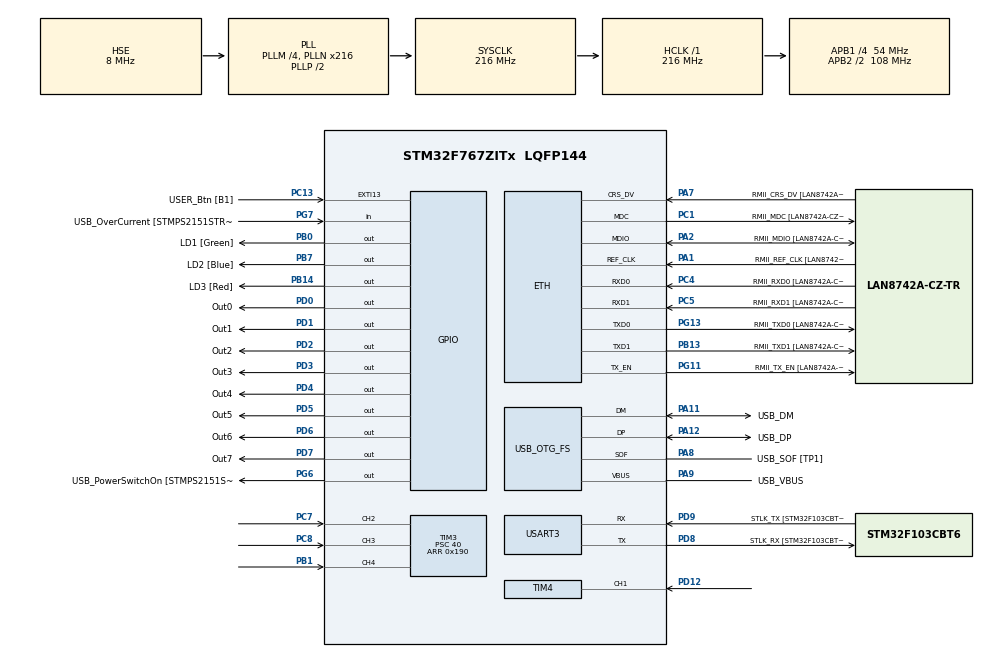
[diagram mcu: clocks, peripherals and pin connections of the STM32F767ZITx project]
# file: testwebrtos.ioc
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FREERTOS.Queues01=myQueue01,16,uint16_t,0,Dynamic,NULL,NULL
VP_ADC1_TempSens_Input.Mode=IN-TempSens
PB14.GPIO_Label=LD3 [Red]
PG6.GPIO_Label=USB_PowerSwitchOn [STMPS2151STR_EN]
PA14.GPIO_Label=TCK
PC5.Mode=RMII
PB13.Signal=ETH_TXD1
PD3.GPIO_Speed=GPIO_SPEED_FREQ_VERY_HIGH
PD6.GPIO_Label=Out6
PG13.Signal=ETH_TXD0
RCC.SYSCLKSource=RCC_SYSCLKSOURCE_PLLCLK
LWIP.NETMASK_ADDRESS=255.255.255.000
LWIP.LWIP_HTTPD=0
USART3.VirtualMode-Asynchronous=VM_ASYNC
PD4.Signal=GPIO_Output
RCC.APB2TimFreq_Value=216000000
PC7.Signal=S_TIM3_CH2
PH1/OSC_OUT.Signal=RCC_OSC_OUT
PD0.Signal=GPIO_Output
PD8.Signal=USART3_TX
NVIC.EXTI15_10_IRQn=true\:5\:0\:false\:false\:true\:true\:true\:true
PD1.GPIO_Label=Out1
PC4.GPIO_Label=RMII_RXD0 [LAN8742A-CZ-TR_RXD0]
PD1.GPIO_Speed=GPIO_SPEED_FREQ_VERY_HIGH
PA8.Signal=USB_OTG_FS_SOF
ETH.PHY_Name=LAN8742A_PHY_ADDRESS
TIM4.Period=0xffff
VP_FREERTOS_VS_CMSIS_V1.Mode=CMSIS_V1
ADC1.SamplingTime-0\#ChannelRegularConversion=ADC_SAMPLETIME_3CYCLES
Mcu.Package=LQFP144
PB1.Signal=S_TIM3_CH4
NVIC.TimeBase=TIM7_IRQn
PD12.Signal=S_TIM4_CH1
NVIC.TimeBaseIP=TIM7
PA10.Signal=USB_OTG_FS_ID
RCC.APB2CLKDivider=RCC_HCLK_DIV2
SH.S_TIM4_CH1.0=TIM4_CH1,Input_Capture1_from_TI1
RCC.APB1TimFreq_Value=108000000
PD5.GPIO_Speed=GPIO_SPEED_FREQ_VERY_HIGH
PB13.Mode=RMII
NVIC.RCC_IRQn=true\:5\:0\:false\:false\:true\:true\:true\:false
PC4.Mode=RMII
LWIP.IP_ADDRESS=192.168.001.204
FREERTOS.Tasks01=defaultTask,3,128,StartDefaultTask,Default,NULL,Dynamic,NULL,NULL;myTask8IO,2,128,StartmyTask8IO,Default,NULL,Dynamic,NULL,NULL;LED,-1,128,StartTaskLED,Default,NULL,Dynamic,NULL,NULL;Input,0,128,StartTaskInput,Default,NULL,Dynamic,NULL,NULL
ADC1.Rank-0\#ChannelRegularConversion=1
TIM3.Channel-Output\ Compare1\ No\ Output=TIM_CHANNEL_1
PD9.GPIO_Label=STLK_TX [STM32F103CBT6_PA2]
TIM3.Channel-Input_Capture2_from_TI2=TIM_CHANNEL_2
TIM3.AutoReloadPreload=TIM_AUTORELOAD_PRELOAD_ENABLE
PA9.GPIO_Label=USB_VBUS
PC13.Signal=GPXTI13
PD3.Signal=GPIO_Output
PD7.Signal=GPIO_Output
PD1.Signal=GPIO_Output
PA11.GPIO_Label=USB_DM
LWIP.LWIP_DHCP=0
RCC.APB1CLKDivider=RCC_HCLK_DIV4
PG13.GPIO_Label=RMII_TXD0 [LAN8742A-CZ-TR_TXD0]
PD0.GPIO_Speed=GPIO_SPEED_FREQ_VERY_HIGH
PA8.GPIO_Label=USB_SOF [TP1]
PA9.Signal=USB_OTG_FS_VBUS
PD8.Mode=Asynchronous
PB14.Signal=GPIO_Output
VP_TIM3_VS_no_output1.Mode=Output Compare1 No Output
NVIC.TIM3_IRQn=true\:5\:0\:false\:false\:true\:true\:true\:true
PA1.Mode=RMII
RCC.PRESCALERUSB=RCC_USBCLKSOURCE_PLL_DIV1_5
PD4.GPIO_Speed=GPIO_SPEED_FREQ_VERY_HIGH
PG7.GPIO_Label=USB_OverCurrent [STMPS2151STR_FAULT]
PA1.GPIO_Label=RMII_REF_CLK [LAN8742A-CZ-TR_REFCLK0]
TIM3.Channel-Input_Capture4_from_TI4=TIM_CHANNEL_4
PA13.Mode=Serial_Wire
ETH.MediaInterface=ETH_MEDIA_INTERFACE_RMII
ADC1.master=1
PG11.Mode=RMII
PA11.Signal=USB_OTG_FS_DM
ProjectManager.HeapSize=0x200
LWIP.Version=v2.1.2_Cube
FREERTOS.Mutexes01=myMutex01,Dynamic,NULL
NVIC.PriorityGroup=NVIC_PRIORITYGROUP_4
PC15/OSC32_OUT.Signal=RCC_OSC32_OUT
PA8.Mode=Activate_SOF_FS
PD2.Signal=GPIO_Output
PB0.Signal=GPIO_Output
PC1.Signal=ETH_MDC
PD2.GPIO_Label=Out2
PC1.Mode=RMII
Mcu.Family=STM32F7
RCC.CortexFreq_Value=216000000
FREERTOS.BinarySemaphores01=myBinarySem01,Dynamic,NULL;myBinarySem02,Dynamic,NULL;myBinarySem03,Dynamic,NULL;myBinarySem04,Dynamic,NULL;myBinarySem05,Dynamic,NULL;myBinarySem06,Dynamic,NULL
PG6.Signal=GPIO_Output
VP_TIM3_VS_OPM.Mode=OPM_bit
RCC.SYSCLKSourceVirtual=RCC_SYSCLKSOURCE_PLLCLK
PD0.GPIO_Label=Out0
PA11.Mode=Device_Only
PD2.GPIO_Speed=GPIO_SPEED_FREQ_VERY_HIGH
PB0.GPIO_Label=LD1 [Green]
PC14/OSC32_IN.Mode=LSE-External-Oscillator
PC13.GPIO_Label=USER_Btn [B1]
PB13.GPIO_Label=RMII_TXD1 [LAN8742A-CZ-TR_TXD1]
PD9.Mode=Asynchronous
PG11.Signal=ETH_TX_EN
ProjectManager.StackSize=0x400
TIM4.Channel-Input_Capture1_from_TI1=TIM_CHANNEL_1
TIM3.Channel-Input_Capture3_from_TI3=TIM_CHANNEL_3
PA12.Signal=USB_OTG_FS_DP
ETH.PHY_Value=0
PH0/OSC_IN.Mode=HSE-External-Clock-Source
RCC.HCLKFreq_Value=216000000
TIM3.Period=0x190
RCC.AHBFreq_Value=216000000
NVIC.ETH_IRQn=true\:5\:0\:false\:false\:true\:true\:false\:true
TIM3.ClockDivision=TIM_CLOCKDIVISION_DIV4
ADC1.Channel-0\#ChannelRegularConversion=ADC_CHANNEL_TEMPSENSOR
RCC.HSE_VALUE=8000000
RCC.PLLMUL=RCC_PLL_MUL9
PD7.GPIO_Speed=GPIO_SPEED_FREQ_VERY_HIGH
PA14.Mode=Serial_Wire
TIM3.Prescaler=40
PA10.GPIO_Label=USB_ID
PB7.Signal=GPIO_Output
PG13.Mode=RMII
PH1/OSC_OUT.Mode=HSE-External-Clock-Source
PD7.GPIO_Label=Out7
PB7.GPIO_Label=LD2 [Blue]
PC14/OSC32_IN.Signal=RCC_OSC32_IN
PD5.GPIO_Label=Out5
PA2.GPIO_Label=RMII_MDIO [LAN8742A-CZ-TR_MDIO]
USB_OTG_FS.VirtualMode=Device_Only
PG11.GPIO_Label=RMII_TX_EN [LAN8742A-CZ-TR_TXEN]
PC5.Signal=ETH_RXD1
PD3.GPIO_Label=Out3
PD6.Signal=GPIO_Output
NVIC.TIM7_IRQn=true\:0\:0\:false\:false\:true\:false\:false\:true
VP_TIM3_VS_ClockSourceINT.Mode=Internal
PB3.GPIO_Label=SWO
TIM4.AutoReloadPreload=TIM_AUTORELOAD_PRELOAD_ENABLE
PA7.Mode=RMII
PG7.Signal=GPIO_Input
VP_SYS_VS_tim7.Mode=TIM7
PC8.Signal=S_TIM3_CH3
PC4.Signal=ETH_RXD0
PD9.Signal=USART3_RX
PD5.Signal=GPIO_Output
SH.S_TIM3_CH3.0=TIM3_CH3,Input_Capture3_from_TI3
ETH.PhyAddress=0
PA12.GPIO_Label=USB_DP
VP_LWIP_VS_Enabled.Mode=Enabled
LWIP.GATEWAY_ADDRESS=192.168.001.001
PD8.GPIO_Label=STLK_RX [STM32F103CBT6_PA3]
PA13.Signal=SYS_JTMS-SWDIO
PA9.Mode=Activate_VBUS
ProjectManager.TargetToolchain=STM32CubeIDE
RCC.USBFreq_Value=48000000
TIM4.Prescaler=1080
PA1.Signal=ETH_REF_CLK
SH.S_TIM3_CH2.0=TIM3_CH2,Input_Capture2_from_TI2
board=NUCLEO-F767ZI
RCC.VCOOutputFreq_Value=432000000
PH0/OSC_IN.Signal=RCC_OSC_IN
RCC.APB2Freq_Value=108000000
PD4.GPIO_Label=Out4
PC1.GPIO_Label=RMII_MDC [LAN8742A-CZ-TR_MDC]
Mcu.Name=STM32F767ZITx
PA2.Signal=ETH_MDIO
PA13.GPIO_Label=TMS
RCC.48MHZClocksFreq_Value=24000000
PB3.Signal=SYS_JTDO-SWO
RCC.SYSCLKFreq_VALUE=216000000
PA7.GPIO_Label=RMII_CRS_DV [LAN8742A-CZ-TR_CRS_DV]
PA12.Mode=Device_Only
PC13.GPIO_ModeDefaultEXTI=GPIO_MODE_IT_FALLING
PC5.GPIO_Label=RMII_RXD1 [LAN8742A-CZ-TR_RXD1]
PC15/OSC32_OUT.Mode=LSE-External-Oscillator
PA14.Signal=SYS_JTCK-SWCLK
RCC.HSI_VALUE=16000000
PH0/OSC_IN.GPIO_Label=MCO [STM32F103CBT6_PA8]
RCC.PLLQ=9
ADC1.NbrOfConversionFlag=1
RCC.PLLM=4
RCC.PLLN=216
PA2.Mode=RMII
RCC.APB1Freq_Value=54000000
PD6.GPIO_Speed=GPIO_SPEED_FREQ_VERY_HIGH
SH.S_TIM3_CH4.0=TIM3_CH4,Input_Capture4_from_TI4
PA7.Signal=ETH_CRS_DV

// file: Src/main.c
/* USER CODE BEGIN Header */
/**
  ******************************************************************************
  * @file           : main.c
  * @brief          : Main program body
  ******************************************************************************
  * @attention
  *
  * <h2><center>&copy; Copyright (c) 2020 STMicroelectronics.
  * All rights reserved.</center></h2>
  *
  * This software component is licensed by ST under Ultimate Liberty license
  * SLA0044, the "License"; You may not use this file except in compliance with
  * the License. You may obtain a copy of the License at:
  *                             www.st.com/SLA0044
  *
  ******************************************************************************
  */
/* USER CODE END Header */

#include "main.h"
#include "cmsis_os.h"
#include "lwip.h"

ADC_HandleTypeDef hadc1;

TIM_HandleTypeDef htim3;
TIM_HandleTypeDef htim4;

UART_HandleTypeDef huart3;

PCD_HandleTypeDef hpcd_USB_OTG_FS;

osThreadId defaultTaskHandle;
osThreadId myTask8IOHandle;
osThreadId LEDHandle;
osThreadId InputHandle;
osMessageQId myQueue01Handle;
osMutexId myMutex01Handle;
osSemaphoreId myBinarySem01Handle;
osSemaphoreId myBinarySem02Handle;
osSemaphoreId myBinarySem03Handle;
osSemaphoreId myBinarySem04Handle;
osSemaphoreId myBinarySem05Handle;
osSemaphoreId myBinarySem06Handle;

void SystemClock_Config(void);
static void MX_GPIO_Init(void);
static void MX_USART3_UART_Init(void);
static void MX_USB_OTG_FS_PCD_Init(void);
static void MX_ADC1_Init(void);
static void MX_TIM3_Init(void);
static void MX_TIM4_Init(void);
void StartDefaultTask(void const * argument);
void StartmyTask8IO(void const * argument);
void StartTaskLED(void const * argument);
void StartTaskInput(void const * argument);

/* USER CODE BEGIN 0 */

uint8_t Test = 0x00;
uint8_t out = 0x00;
int Button = 0;
unsigned long t1 = 0;
unsigned long t2 = 0;
unsigned long diff = 0;
unsigned long diff2 = 0;
unsigned long count=0;
unsigned long count2=0;

/* USER CODE END 0 */

int main(void)
{
  /* USER CODE BEGIN 1 */
/*
	CoreDebug->DEMCR |= CoreDebug_DEMCR_TRCENA_Msk;
	DWT->CYCCNT = 0;
	DWT->CTRL |= DWT_CTRL_CYCCNTENA_Msk;
	DWT->CTRL |= 1 ; // enable the counter
	DWT->CYCCNT = 0; // reset the counter
*/
	CoreDebug->DEMCR |= CoreDebug_DEMCR_TRCENA_Msk;
	DWT->LAR = 0xC5ACCE55;
	DWT->CYCCNT = 0;
	DWT->CTRL |= DWT_CTRL_CYCCNTENA_Msk;

  /* USER CODE END 1 */

  /* MCU Configuration--------------------------------------------------------*/

  /* Reset of all peripherals, Initializes the Flash interface and the Systick. */
  HAL_Init();

  /* Configure the system clock */
  SystemClock_Config();

  /* Initialize all configured peripherals */
  MX_GPIO_Init();
  MX_USART3_UART_Init();
  MX_USB_OTG_FS_PCD_Init();
  MX_ADC1_Init();
  MX_TIM3_Init();
  MX_TIM4_Init();

  /* Create the mutex(es) */
  /* definition and creation of myMutex01 */
  osMutexDef(myMutex01);
  myMutex01Handle = osMutexCreate(osMutex(myMutex01));

  /* Create the semaphores(s) */
  /* definition and creation of myBinarySem01 */
  osSemaphoreDef(myBinarySem01);
  myBinarySem01Handle = osSemaphoreCreate(osSemaphore(myBinarySem01), 1);

  /* definition and creation of myBinarySem02 */
  osSemaphoreDef(myBinarySem02);
  myBinarySem02Handle = osSemaphoreCreate(osSemaphore(myBinarySem02), 1);

  /* definition and creation of myBinarySem03 */
  osSemaphoreDef(myBinarySem03);
  myBinarySem03Handle = osSemaphoreCreate(osSemaphore(myBinarySem03), 1);

  /* definition and creation of myBinarySem04 */
  osSemaphoreDef(myBinarySem04);
  myBinarySem04Handle = osSemaphoreCreate(osSemaphore(myBinarySem04), 1);

  /* definition and creation of myBinarySem05 */
  osSemaphoreDef(myBinarySem05);
  myBinarySem05Handle = osSemaphoreCreate(osSemaphore(myBinarySem05), 1);

  /* definition and creation of myBinarySem06 */
  osSemaphoreDef(myBinarySem06);
  myBinarySem06Handle = osSemaphoreCreate(osSemaphore(myBinarySem06), 1);

  /* USER CODE BEGIN RTOS_TIMERS */
  /* start timers, add new ones, ... */
  HAL_TIM_Base_Start(&htim3);
  //HAL_TIM_Base_Start_IT(&htim3);
  /* USER CODE END RTOS_TIMERS */

  /* Create the queue(s) */
  /* definition and creation of myQueue01 */
  osMessageQDef(myQueue01, 16, uint16_t);
  myQueue01Handle = osMessageCreate(osMessageQ(myQueue01), NULL);

  /* Create the thread(s) */
  /* definition and creation of defaultTask */
  osThreadDef(defaultTask, StartDefaultTask, osPriorityRealtime, 0, 128);
  defaultTaskHandle = osThreadCreate(osThread(defaultTask), NULL);

  /* definition and creation of myTask8IO */
  osThreadDef(myTask8IO, StartmyTask8IO, osPriorityHigh, 0, 128);
  myTask8IOHandle = osThreadCreate(osThread(myTask8IO), NULL);

  /* definition and creation of LED */
  osThreadDef(LED, StartTaskLED, osPriorityBelowNormal, 0, 128);
  LEDHandle = osThreadCreate(osThread(LED), NULL);

  /* definition and creation of Input */
  osThreadDef(Input, StartTaskInput, osPriorityNormal, 0, 128);
  InputHandle = osThreadCreate(osThread(Input), NULL);

  /* Start scheduler */
  osKernelStart();

  /* We should never get here as control is now taken by the scheduler */
  /* Infinite loop */
  while (1)
  {

  }
}

void SystemClock_Config(void)
{
  RCC_OscInitTypeDef RCC_OscInitStruct = {0};
  RCC_ClkInitTypeDef RCC_ClkInitStruct = {0};
  RCC_PeriphCLKInitTypeDef PeriphClkInitStruct = {0};

  /** Configure LSE Drive Capability
  */
  HAL_PWR_EnableBkUpAccess();
  /** Configure the main internal regulator output voltage
  */
  __HAL_RCC_PWR_CLK_ENABLE();
  __HAL_PWR_VOLTAGESCALING_CONFIG(PWR_REGULATOR_VOLTAGE_SCALE1);
  /** Initializes the CPU, AHB and APB busses clocks
  */
  RCC_OscInitStruct.OscillatorType = RCC_OSCILLATORTYPE_HSE;
  RCC_OscInitStruct.HSEState = RCC_HSE_BYPASS;
  RCC_OscInitStruct.PLL.PLLState = RCC_PLL_ON;
  RCC_OscInitStruct.PLL.PLLSource = RCC_PLLSOURCE_HSE;
  RCC_OscInitStruct.PLL.PLLM = 4;
  RCC_OscInitStruct.PLL.PLLN = 216;
  RCC_OscInitStruct.PLL.PLLP = RCC_PLLP_DIV2;
  RCC_OscInitStruct.PLL.PLLQ = 9;
  if (HAL_RCC_OscConfig(&RCC_OscInitStruct) != HAL_OK)
  {
    Error_Handler();
  }
  /** Activate the Over-Drive mode
  */
  if (HAL_PWREx_EnableOverDrive() != HAL_OK)
  {
    Error_Handler();
  }
  /** Initializes the CPU, AHB and APB busses clocks
  */
  RCC_ClkInitStruct.ClockType = RCC_CLOCKTYPE_HCLK|RCC_CLOCKTYPE_SYSCLK
                              |RCC_CLOCKTYPE_PCLK1|RCC_CLOCKTYPE_PCLK2;
  RCC_ClkInitStruct.SYSCLKSource = RCC_SYSCLKSOURCE_PLLCLK;
  RCC_ClkInitStruct.AHBCLKDivider = RCC_SYSCLK_DIV1;
  RCC_ClkInitStruct.APB1CLKDivider = RCC_HCLK_DIV4;
  RCC_ClkInitStruct.APB2CLKDivider = RCC_HCLK_DIV2;

  if (HAL_RCC_ClockConfig(&RCC_ClkInitStruct, FLASH_LATENCY_7) != HAL_OK)
  {
    Error_Handler();
  }
  PeriphClkInitStruct.PeriphClockSelection = RCC_PERIPHCLK_USART3|RCC_PERIPHCLK_CLK48;
  PeriphClkInitStruct.Usart3ClockSelection = RCC_USART3CLKSOURCE_PCLK1;
  PeriphClkInitStruct.Clk48ClockSelection = RCC_CLK48SOURCE_PLL;
  if (HAL_RCCEx_PeriphCLKConfig(&PeriphClkInitStruct) != HAL_OK)
  {
    Error_Handler();
  }
}

static void MX_ADC1_Init(void)
{

  ADC_ChannelConfTypeDef sConfig = {0};

  /** Configure the global features of the ADC (Clock, Resolution, Data Alignment and number of conversion)
  */
  hadc1.Instance = ADC1;
  hadc1.Init.ClockPrescaler = ADC_CLOCK_SYNC_PCLK_DIV4;
  hadc1.Init.Resolution = ADC_RESOLUTION_12B;
  hadc1.Init.ScanConvMode = ADC_SCAN_DISABLE;
  hadc1.Init.ContinuousConvMode = DISABLE;
  hadc1.Init.DiscontinuousConvMode = DISABLE;
  hadc1.Init.ExternalTrigConvEdge = ADC_EXTERNALTRIGCONVEDGE_NONE;
  hadc1.Init.ExternalTrigConv = ADC_SOFTWARE_START;
  hadc1.Init.DataAlign = ADC_DATAALIGN_RIGHT;
  hadc1.Init.NbrOfConversion = 1;
  hadc1.Init.DMAContinuousRequests = DISABLE;
  hadc1.Init.EOCSelection = ADC_EOC_SINGLE_CONV;
  if (HAL_ADC_Init(&hadc1) != HAL_OK)
  {
    Error_Handler();
  }
  /** Configure for the selected ADC regular channel its corresponding rank in the sequencer and its sample time.
  */
  sConfig.Channel = ADC_CHANNEL_TEMPSENSOR;
  sConfig.Rank = ADC_REGULAR_RANK_1;
  sConfig.SamplingTime = ADC_SAMPLETIME_3CYCLES;
  if (HAL_ADC_ConfigChannel(&hadc1, &sConfig) != HAL_OK)
  {
    Error_Handler();
  }

}

static void MX_TIM3_Init(void)
{

  TIM_ClockConfigTypeDef sClockSourceConfig = {0};
  TIM_MasterConfigTypeDef sMasterConfig = {0};
  TIM_OC_InitTypeDef sConfigOC = {0};
  TIM_IC_InitTypeDef sConfigIC = {0};

  /* USER CODE BEGIN TIM3_Init 1 */
  __TIM3_CLK_ENABLE();

  TIM3->PSC = HAL_RCC_GetPCLK1Freq()/1000000 - 1;
  TIM3->CR1 = TIM_CR1_CEN;

  /* USER CODE END TIM3_Init 1 */
  htim3.Instance = TIM3;
  htim3.Init.Prescaler = 40;
  htim3.Init.CounterMode = TIM_COUNTERMODE_UP;
  htim3.Init.Period = 0x190;
  htim3.Init.ClockDivision = TIM_CLOCKDIVISION_DIV4;
  htim3.Init.AutoReloadPreload = TIM_AUTORELOAD_PRELOAD_ENABLE;
  if (HAL_TIM_Base_Init(&htim3) != HAL_OK)
  {
    Error_Handler();
  }
  sClockSourceConfig.ClockSource = TIM_CLOCKSOURCE_INTERNAL;
  if (HAL_TIM_ConfigClockSource(&htim3, &sClockSourceConfig) != HAL_OK)
  {
    Error_Handler();
  }
  if (HAL_TIM_OC_Init(&htim3) != HAL_OK)
  {
    Error_Handler();
  }
  if (HAL_TIM_IC_Init(&htim3) != HAL_OK)
  {
    Error_Handler();
  }
  if (HAL_TIM_OnePulse_Init(&htim3, TIM_OPMODE_SINGLE) != HAL_OK)
  {
    Error_Handler();
  }
  sMasterConfig.MasterOutputTrigger = TIM_TRGO_RESET;
  sMasterConfig.MasterSlaveMode = TIM_MASTERSLAVEMODE_DISABLE;
  if (HAL_TIMEx_MasterConfigSynchronization(&htim3, &sMasterConfig) != HAL_OK)
  {
    Error_Handler();
  }
  sConfigOC.OCMode = TIM_OCMODE_TIMING;
  sConfigOC.Pulse = 0;
  sConfigOC.OCPolarity = TIM_OCPOLARITY_HIGH;
  sConfigOC.OCFastMode = TIM_OCFAST_DISABLE;
  if (HAL_TIM_OC_ConfigChannel(&htim3, &sConfigOC, TIM_CHANNEL_1) != HAL_OK)
  {
    Error_Handler();
  }
  sConfigIC.ICPolarity = TIM_INPUTCHANNELPOLARITY_RISING;
  sConfigIC.ICSelection = TIM_ICSELECTION_DIRECTTI;
  sConfigIC.ICPrescaler = TIM_ICPSC_DIV1;
  sConfigIC.ICFilter = 0;
  if (HAL_TIM_IC_ConfigChannel(&htim3, &sConfigIC, TIM_CHANNEL_2) != HAL_OK)
  {
    Error_Handler();
  }
  if (HAL_TIM_IC_ConfigChannel(&htim3, &sConfigIC, TIM_CHANNEL_3) != HAL_OK)
  {
    Error_Handler();
  }
  if (HAL_TIM_IC_ConfigChannel(&htim3, &sConfigIC, TIM_CHANNEL_4) != HAL_OK)
  {
    Error_Handler();
  }
  /* USER CODE BEGIN TIM3_Init 2 */
  __TIM3_CLK_ENABLE();;
  HAL_TIM_Base_Start(&htim3);

  /* USER CODE END TIM3_Init 2 */

}

static void MX_TIM4_Init(void)
{

  TIM_MasterConfigTypeDef sMasterConfig = {0};
  TIM_IC_InitTypeDef sConfigIC = {0};

  htim4.Instance = TIM4;
  htim4.Init.Prescaler = 1080;
  htim4.Init.CounterMode = TIM_COUNTERMODE_UP;
  htim4.Init.Period = 0xffff;
  htim4.Init.ClockDivision = TIM_CLOCKDIVISION_DIV1;
  htim4.Init.AutoReloadPreload = TIM_AUTORELOAD_PRELOAD_ENABLE;
  if (HAL_TIM_IC_Init(&htim4) != HAL_OK)
  {
    Error_Handler();
  }
  sMasterConfig.MasterOutputTrigger = TIM_TRGO_RESET;
  sMasterConfig.MasterSlaveMode = TIM_MASTERSLAVEMODE_DISABLE;
  if (HAL_TIMEx_MasterConfigSynchronization(&htim4, &sMasterConfig) != HAL_OK)
  {
    Error_Handler();
  }
  sConfigIC.ICPolarity = TIM_INPUTCHANNELPOLARITY_RISING;
  sConfigIC.ICSelection = TIM_ICSELECTION_DIRECTTI;
  sConfigIC.ICPrescaler = TIM_ICPSC_DIV1;
  sConfigIC.ICFilter = 0;
  if (HAL_TIM_IC_ConfigChannel(&htim4, &sConfigIC, TIM_CHANNEL_1) != HAL_OK)
  {
    Error_Handler();
  }
  /* USER CODE BEGIN TIM4_Init 2 */
  __TIM4_CLK_ENABLE();
    HAL_TIM_Base_Start(&htim4);

  /* USER CODE END TIM4_Init 2 */

}

static void MX_USART3_UART_Init(void)
{

  huart3.Instance = USART3;
  huart3.Init.BaudRate = 115200;
  huart3.Init.WordLength = UART_WORDLENGTH_8B;
  huart3.Init.StopBits = UART_STOPBITS_1;
  huart3.Init.Parity = UART_PARITY_NONE;
  huart3.Init.Mode = UART_MODE_TX_RX;
  huart3.Init.HwFlowCtl = UART_HWCONTROL_NONE;
  huart3.Init.OverSampling = UART_OVERSAMPLING_16;
  huart3.Init.OneBitSampling = UART_ONE_BIT_SAMPLE_DISABLE;
  huart3.AdvancedInit.AdvFeatureInit = UART_ADVFEATURE_NO_INIT;
  if (HAL_UART_Init(&huart3) != HAL_OK)
  {
    Error_Handler();
  }

}

static void MX_USB_OTG_FS_PCD_Init(void)
{

  hpcd_USB_OTG_FS.Instance = USB_OTG_FS;
  hpcd_USB_OTG_FS.Init.dev_endpoints = 6;
  hpcd_USB_OTG_FS.Init.speed = PCD_SPEED_FULL;
  hpcd_USB_OTG_FS.Init.dma_enable = DISABLE;
  hpcd_USB_OTG_FS.Init.phy_itface = PCD_PHY_EMBEDDED;
  hpcd_USB_OTG_FS.Init.Sof_enable = ENABLE;
  hpcd_USB_OTG_FS.Init.low_power_enable = DISABLE;
  hpcd_USB_OTG_FS.Init.lpm_enable = DISABLE;
  hpcd_USB_OTG_FS.Init.vbus_sensing_enable = ENABLE;
  hpcd_USB_OTG_FS.Init.use_dedicated_ep1 = DISABLE;
  if (HAL_PCD_Init(&hpcd_USB_OTG_FS) != HAL_OK)
  {
    Error_Handler();
  }

}

static void MX_GPIO_Init(void)
{
  GPIO_InitTypeDef GPIO_InitStruct = {0};

  /* GPIO Ports Clock Enable */
  __HAL_RCC_GPIOC_CLK_ENABLE();
  __HAL_RCC_GPIOH_CLK_ENABLE();
  __HAL_RCC_GPIOA_CLK_ENABLE();
  __HAL_RCC_GPIOB_CLK_ENABLE();
  __HAL_RCC_GPIOD_CLK_ENABLE();
  __HAL_RCC_GPIOG_CLK_ENABLE();

  /*Configure GPIO pin Output Level */
  HAL_GPIO_WritePin(GPIOB, LD1_Pin|LD3_Pin|LD2_Pin, GPIO_PIN_RESET);

  /*Configure GPIO pin Output Level */
  HAL_GPIO_WritePin(USB_PowerSwitchOn_GPIO_Port, USB_PowerSwitchOn_Pin, GPIO_PIN_RESET);

  /*Configure GPIO pin Output Level */
  HAL_GPIO_WritePin(GPIOD, Out0_Pin|Out1_Pin|Out2_Pin|Out3_Pin
                          |Out4_Pin|Out5_Pin|Out6_Pin|Out7_Pin, GPIO_PIN_RESET);

  /*Configure GPIO pin : USER_Btn_Pin */
  GPIO_InitStruct.Pin = USER_Btn_Pin;
  GPIO_InitStruct.Mode = GPIO_MODE_IT_FALLING;
  GPIO_InitStruct.Pull = GPIO_NOPULL;
  HAL_GPIO_Init(USER_Btn_GPIO_Port, &GPIO_InitStruct);

  /*Configure GPIO pins : LD1_Pin LD3_Pin LD2_Pin */
  GPIO_InitStruct.Pin = LD1_Pin|LD3_Pin|LD2_Pin;
  GPIO_InitStruct.Mode = GPIO_MODE_OUTPUT_PP;
  GPIO_InitStruct.Pull = GPIO_NOPULL;
  GPIO_InitStruct.Speed = GPIO_SPEED_FREQ_LOW;
  HAL_GPIO_Init(GPIOB, &GPIO_InitStruct);

  /*Configure GPIO pin : USB_PowerSwitchOn_Pin */
  GPIO_InitStruct.Pin = USB_PowerSwitchOn_Pin;
  GPIO_InitStruct.Mode = GPIO_MODE_OUTPUT_PP;
  GPIO_InitStruct.Pull = GPIO_NOPULL;
  GPIO_InitStruct.Speed = GPIO_SPEED_FREQ_LOW;
  HAL_GPIO_Init(USB_PowerSwitchOn_GPIO_Port, &GPIO_InitStruct);

  /*Configure GPIO pin : USB_OverCurrent_Pin */
  GPIO_InitStruct.Pin = USB_OverCurrent_Pin;
  GPIO_InitStruct.Mode = GPIO_MODE_INPUT;
  GPIO_InitStruct.Pull = GPIO_NOPULL;
  HAL_GPIO_Init(USB_OverCurrent_GPIO_Port, &GPIO_InitStruct);

  /*Configure GPIO pins : Out0_Pin Out1_Pin Out2_Pin Out3_Pin
                           Out4_Pin Out5_Pin Out6_Pin Out7_Pin */
  GPIO_InitStruct.Pin = Out0_Pin|Out1_Pin|Out2_Pin|Out3_Pin
                          |Out4_Pin|Out5_Pin|Out6_Pin|Out7_Pin;
  GPIO_InitStruct.Mode = GPIO_MODE_OUTPUT_PP;
  GPIO_InitStruct.Pull = GPIO_NOPULL;
  GPIO_InitStruct.Speed = GPIO_SPEED_FREQ_VERY_HIGH;
  HAL_GPIO_Init(GPIOD, &GPIO_InitStruct);

  /* EXTI interrupt init*/
  HAL_NVIC_SetPriority(EXTI15_10_IRQn, 5, 0);
  HAL_NVIC_EnableIRQ(EXTI15_10_IRQn);

}

void StartDefaultTask(void const * argument)
{
  /* init code for LWIP */
  MX_LWIP_Init();
  /* USER CODE BEGIN 5 */
  http_server_netconn_init();
  /* Infinite loop */
  for(;;)
  {
	  osThreadTerminate(NULL);
	  //char buffer[] = "test\r\n";
	  //HAL_UART_Transmit(&huart3, buffer, sizeof(buffer), HAL_MAX_DELAY);
  }
  /* USER CODE END 5 */
}

void StartmyTask8IO(void const * argument)
{
  /* USER CODE BEGIN StartmyTask8IO */
  /* Infinite loop */
  for(;;)
  {

	  // uncomment for high priority test.
/*
	  if(xSemaphoreTake(myBinarySem01Handle,portMAX_DELAY))
	  	  {

	  		  HAL_GPIO_TogglePin(LD1_GPIO_Port, LD2_Pin);
	  		  count2 = TIM4->CNT;
	  		  //count = TIM4->CNT;
	  		  //t2 = DWT->CYCCNT;
	  		  //diff = t2 - t1;
	  	  }
*/
	  HAL_GPIO_WritePin(GPIOD, out, GPIO_PIN_SET);

// uncomment for DWT test.
/*
	  if(xSemaphoreTake(myBinarySem01Handle,portMAX_DELAY))
	  {

		  HAL_GPIO_TogglePin(LD1_GPIO_Port, LD1_Pin);
		  //t2 = DWT->CYCCNT;
		  //diff = t2 - t1;
		  //count2 = HAL_GetTick();
		  //diff2 = count2 - t1;
	  }
	  */

// uncomment for 8IO test.
/*
	if (out > 0)
	{
		//HAL_GPIO_WritePin(GPIOC, GPIO_PIN_9,GPIO_PIN_RESET);
		//HAL_GPIO_WritePin(GPIOD, Out0_Pin|Out1_Pin|Out2_Pin|Out3_Pin |Out4_Pin|Out5_Pin|Out6_Pin|Out7_Pin, GPIO_PIN_SET);
		HAL_GPIO_WritePin(GPIOD, out, GPIO_PIN_SET);
	}
	*/
    osDelay(1);
  }
  /* USER CODE END StartmyTask8IO */
}

void StartTaskLED(void const * argument)
{
  /* USER CODE BEGIN StartTaskLED */
  /* Infinite loop */
  for(;;)
  {
	//Test how accurate the delays are.
	  //count = __HAL_TIM_GetCounter(&htim4);
	  //__HAL_TIM_SetCounter(&htim4, 0);
	  //osDelay(100);
	  //count = TIM4->CNT;
	  //osDelay(200);
	  //count = TIM4->CNT;
	  //osDelay(200);
	  //microseconds *= (HAL_RCC_GetHCLKFreq() / 1000000);
	  //count = HAL_GetTick();
	  //osDelay(500);
	  //count2 = HAL_GetTick();
	  //diff2 = count2 - count;
	  //osDelay(500);
	  //HAL_GPIO_TogglePin(LD1_GPIO_Port, LD1_Pin);
	  //osDelay(500);
	  //t2 = DWT->CYCCNT;
	  //DWT->CYCCNT = 0;
	 // t1 = DWT->CYCCNT;
	  //osDelay(500);
	  //osDelay(1000);
	  //t2 = DWT->CYCCNT;
	  //diff = t2 - t1;

	  if(xSemaphoreTake(myBinarySem01Handle,1))
	  {

		  HAL_GPIO_TogglePin(LD1_GPIO_Port, LD1_Pin);
		  count = TIM4->CNT;
		  //count = TIM4->CNT;
		  //t2 = DWT->CYCCNT;
		  //diff = t2 - t1;
	  }

	  if(xSemaphoreTake(myBinarySem02Handle,1))
	 	  {

	 		  HAL_GPIO_TogglePin(LD2_GPIO_Port, LD2_Pin);
	 	  }

	  if(xSemaphoreTake(myBinarySem03Handle,1))
	  	  {

	  	 	  HAL_GPIO_TogglePin(LD3_GPIO_Port, LD3_Pin);

	  	  }

	  if(xSemaphoreTake(myBinarySem04Handle,1))
	  	 	  {
		  	  HAL_GPIO_WritePin(LD1_GPIO_Port, LD1_Pin, GPIO_PIN_RESET);
		  	  HAL_GPIO_WritePin(LD2_GPIO_Port, LD2_Pin, GPIO_PIN_RESET);
		  	  HAL_GPIO_WritePin(LD3_GPIO_Port, LD3_Pin, GPIO_PIN_RESET);
		  	  HAL_GPIO_TogglePin(LD1_GPIO_Port, LD1_Pin);
		  	  osDelay(500);
		  	  HAL_GPIO_TogglePin(LD2_GPIO_Port, LD2_Pin);
		  	  osDelay(500);
		  	  HAL_GPIO_TogglePin(LD3_GPIO_Port, LD3_Pin);
		  	  osDelay(500);
	  	 	  }

	  if(xSemaphoreTake(myBinarySem05Handle,1))
	  	  	  {

		  	   HAL_GPIO_WritePin(LD1_GPIO_Port, LD1_Pin, GPIO_PIN_RESET);
		  	   HAL_GPIO_WritePin(LD2_GPIO_Port, LD2_Pin, GPIO_PIN_RESET);
		           HAL_GPIO_WritePin(LD3_GPIO_Port, LD3_Pin, GPIO_PIN_RESET);
	  	  	  }
	  if(xSemaphoreTake(myBinarySem06Handle,1))
	  {
	  		   HAL_GPIO_WritePin(LD1_GPIO_Port, LD1_Pin, GPIO_PIN_SET);
	  		   HAL_GPIO_WritePin(LD2_GPIO_Port, LD2_Pin, GPIO_PIN_SET);
	  		   HAL_GPIO_WritePin(LD3_GPIO_Port, LD3_Pin, GPIO_PIN_SET);
	  }

  }
  /* USER CODE END StartTaskLED */
}

void StartTaskInput(void const * argument)
{
  /* USER CODE BEGIN StartTaskInput */
  /* Infinite loop */
  for(;;)
  {
	  if(HAL_GPIO_ReadPin(USER_Btn_GPIO_Port, USER_Btn_Pin) == GPIO_PIN_SET){
		  Button = 1;
		  //xSemaphoreGive(myBinarySem01Handle);
	  }
	  	  else
	  {
	  		Button = 0;
  	  }

    osDelay(1);
  }
  /* USER CODE END StartTaskInput */
}

 /**
  * @brief  Period elapsed callback in non blocking mode
  * @note   This function is called  when TIM7 interrupt took place, inside
  * HAL_TIM_IRQHandler(). It makes a direct call to HAL_IncTick() to increment
  * a global variable "uwTick" used as application time base.
  * @param  htim : TIM handle
  * @retval None
  */
void HAL_TIM_PeriodElapsedCallback(TIM_HandleTypeDef *htim)
{
  if (htim->Instance == TIM7) {
    HAL_IncTick();
  }
}

void Error_Handler(void)
{
}

/************************ (C) COPYRIGHT STMicroelectronics *****END OF FILE****/
